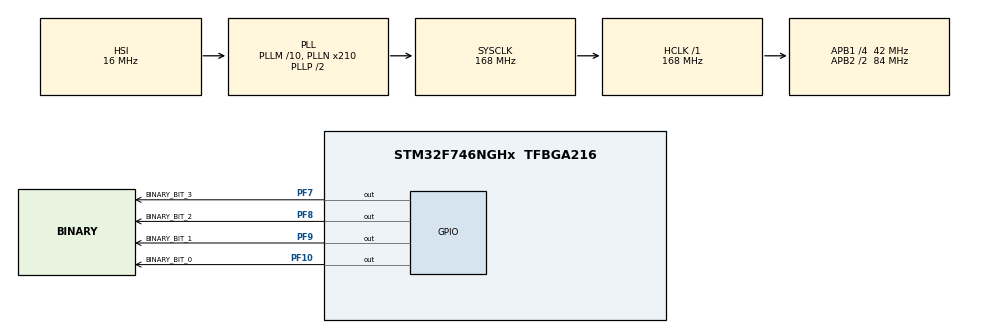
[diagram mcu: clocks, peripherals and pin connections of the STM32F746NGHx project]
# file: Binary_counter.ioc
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Mcu.Family=STM32F7
Mcu.Name=STM32F746NGHx
Mcu.Package=TFBGA216
NVIC.PriorityGroup=NVIC_PRIORITYGROUP_4
NVIC.TIM8_TRG_COM_TIM14_IRQn=true\:0\:0\:false\:false\:true\:false\:true
NVIC.TimeBase=TIM8_TRG_COM_TIM14_IRQn
NVIC.TimeBaseIP=TIM14
PA13.Mode=Serial_Wire
PA13.Signal=SYS_JTMS-SWDIO
PA14.Mode=Serial_Wire
PA14.Signal=SYS_JTCK-SWCLK
PC14/OSC32_IN.Mode=LSE-External-Clock-Source
PC14/OSC32_IN.Signal=RCC_OSC32_IN
PC15/OSC32_OUT.Mode=LSE-External-Clock-Source
PC15/OSC32_OUT.Signal=RCC_OSC32_OUT
PF10.GPIO_Label=BINARY_BIT_0
PF10.Signal=GPIO_Output
PF7.GPIO_Label=BINARY_BIT_3
PF7.Signal=GPIO_Output
PF8.GPIO_Label=BINARY_BIT_2
PF8.Signal=GPIO_Output
PF9.GPIO_Label=BINARY_BIT_1
PF9.Signal=GPIO_Output
PH0/OSC_IN.Mode=HSE-External-Oscillator
PH0/OSC_IN.Signal=RCC_OSC_IN
PH1/OSC_OUT.Mode=HSE-External-Oscillator
PH1/OSC_OUT.Signal=RCC_OSC_OUT
ProjectManager.HeapSize=0x200
ProjectManager.StackSize=0x400
ProjectManager.TargetToolchain=STM32CubeIDE
RCC.AHBFreq_Value=168000000
RCC.APB1CLKDivider=RCC_HCLK_DIV4
RCC.APB1Freq_Value=42000000
RCC.APB1TimFreq_Value=84000000
RCC.APB2CLKDivider=RCC_HCLK_DIV2
RCC.APB2Freq_Value=84000000
RCC.APB2TimFreq_Value=168000000
RCC.CortexFreq_Value=168000000
RCC.HCLKFreq_Value=168000000
RCC.HSE_VALUE=25000000
RCC.HSI_VALUE=16000000
RCC.LSE_VALUE=32768
RCC.PLLM=10
RCC.PLLN=210
RCC.PLLSourceVirtual=RCC_PLLSOURCE_HSI
RCC.SYSCLKFreq_VALUE=168000000
RCC.SYSCLKSource=RCC_SYSCLKSOURCE_PLLCLK
RCC.USBFreq_Value=168000000
RCC.VCOOutputFreq_Value=336000000
VP_SYS_VS_tim14.Mode=TIM14
board=STM32F746G-DISCO

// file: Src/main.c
/* USER CODE BEGIN Header */
/**
  ******************************************************************************
  * @file           : main.c
  * @brief          : Main program body
  ******************************************************************************
  * @attention
  *
  * <h2><center>&copy; Copyright (c) 2019 STMicroelectronics.
  * All rights reserved.</center></h2>
  *
  * This software component is licensed by ST under BSD 3-Clause license,
  * the "License"; You may not use this file except in compliance with the
  * License. You may obtain a copy of the License at:
  *                        opensource.org/licenses/BSD-3-Clause
  *
  ******************************************************************************
  */
/* USER CODE END Header */

#include "main.h"

void SystemClock_Config(void);
static void MX_GPIO_Init(void);

int main(void)
{

  /* MCU Configuration--------------------------------------------------------*/

  /* Reset of all peripherals, Initializes the Flash interface and the Systick. */
  HAL_Init();

  /* Configure the system clock */
  SystemClock_Config();

  /* Initialize all configured peripherals */
  MX_GPIO_Init();
  /* USER CODE BEGIN 2 */
  uint8_t counter = 0;
  uint8_t gpio_pin0;
  uint8_t gpio_pin1;
  uint8_t gpio_pin2;
  uint8_t gpio_pin3;
  /* USER CODE END 2 */

  /* Infinite loop */
  /* USER CODE BEGIN WHILE */
  while (1)
  {
	  ++counter;
	  gpio_pin0 = counter & 1;
	  gpio_pin1 = (counter >> 1) & 1;
	  gpio_pin2 = (counter >> 2) & 1;
	  gpio_pin3 = (counter >> 3) & 1;

	  HAL_GPIO_WritePin(BINARY_BIT_0_GPIO_Port, BINARY_BIT_0_Pin, gpio_pin0);
	  HAL_GPIO_WritePin(BINARY_BIT_1_GPIO_Port, BINARY_BIT_1_Pin, gpio_pin1);
	  HAL_GPIO_WritePin(BINARY_BIT_2_GPIO_Port, BINARY_BIT_2_Pin, gpio_pin2);
	  HAL_GPIO_WritePin(BINARY_BIT_3_GPIO_Port, BINARY_BIT_3_Pin, gpio_pin3);
	  HAL_Delay(1000);
    /* USER CODE END WHILE */

  }
}

void SystemClock_Config(void)
{
  RCC_OscInitTypeDef RCC_OscInitStruct = {0};
  RCC_ClkInitTypeDef RCC_ClkInitStruct = {0};

  /** Configure the main internal regulator output voltage
  */
  __HAL_RCC_PWR_CLK_ENABLE();
  __HAL_PWR_VOLTAGESCALING_CONFIG(PWR_REGULATOR_VOLTAGE_SCALE2);
  /** Initializes the CPU, AHB and APB busses clocks
  */
  RCC_OscInitStruct.OscillatorType = RCC_OSCILLATORTYPE_HSI;
  RCC_OscInitStruct.HSIState = RCC_HSI_ON;
  RCC_OscInitStruct.HSICalibrationValue = RCC_HSICALIBRATION_DEFAULT;
  RCC_OscInitStruct.PLL.PLLState = RCC_PLL_ON;
  RCC_OscInitStruct.PLL.PLLSource = RCC_PLLSOURCE_HSI;
  RCC_OscInitStruct.PLL.PLLM = 10;
  RCC_OscInitStruct.PLL.PLLN = 210;
  RCC_OscInitStruct.PLL.PLLP = RCC_PLLP_DIV2;
  RCC_OscInitStruct.PLL.PLLQ = 2;
  if (HAL_RCC_OscConfig(&RCC_OscInitStruct) != HAL_OK)
  {
    Error_Handler();
  }
  /** Initializes the CPU, AHB and APB busses clocks
  */
  RCC_ClkInitStruct.ClockType = RCC_CLOCKTYPE_HCLK|RCC_CLOCKTYPE_SYSCLK
                              |RCC_CLOCKTYPE_PCLK1|RCC_CLOCKTYPE_PCLK2;
  RCC_ClkInitStruct.SYSCLKSource = RCC_SYSCLKSOURCE_PLLCLK;
  RCC_ClkInitStruct.AHBCLKDivider = RCC_SYSCLK_DIV1;
  RCC_ClkInitStruct.APB1CLKDivider = RCC_HCLK_DIV4;
  RCC_ClkInitStruct.APB2CLKDivider = RCC_HCLK_DIV2;

  if (HAL_RCC_ClockConfig(&RCC_ClkInitStruct, FLASH_LATENCY_5) != HAL_OK)
  {
    Error_Handler();
  }
}

static void MX_GPIO_Init(void)
{
  GPIO_InitTypeDef GPIO_InitStruct = {0};

  /* GPIO Ports Clock Enable */
  __HAL_RCC_GPIOA_CLK_ENABLE();
  __HAL_RCC_GPIOC_CLK_ENABLE();
  __HAL_RCC_GPIOH_CLK_ENABLE();
  __HAL_RCC_GPIOF_CLK_ENABLE();

  /*Configure GPIO pin Output Level */
  HAL_GPIO_WritePin(GPIOF, BINARY_BIT_3_Pin|BINARY_BIT_0_Pin|BINARY_BIT_1_Pin|BINARY_BIT_2_Pin, GPIO_PIN_RESET);

  /*Configure GPIO pins : BINARY_BIT_3_Pin BINARY_BIT_0_Pin BINARY_BIT_1_Pin BINARY_BIT_2_Pin */
  GPIO_InitStruct.Pin = BINARY_BIT_3_Pin|BINARY_BIT_0_Pin|BINARY_BIT_1_Pin|BINARY_BIT_2_Pin;
  GPIO_InitStruct.Mode = GPIO_MODE_OUTPUT_PP;
  GPIO_InitStruct.Pull = GPIO_NOPULL;
  GPIO_InitStruct.Speed = GPIO_SPEED_FREQ_LOW;
  HAL_GPIO_Init(GPIOF, &GPIO_InitStruct);

}

void HAL_TIM_PeriodElapsedCallback(TIM_HandleTypeDef *htim)
{
  if (htim->Instance == TIM14) {
    HAL_IncTick();
  }
}

void Error_Handler(void)
{
}

/************************ (C) COPYRIGHT STMicroelectronics *****END OF FILE****/
